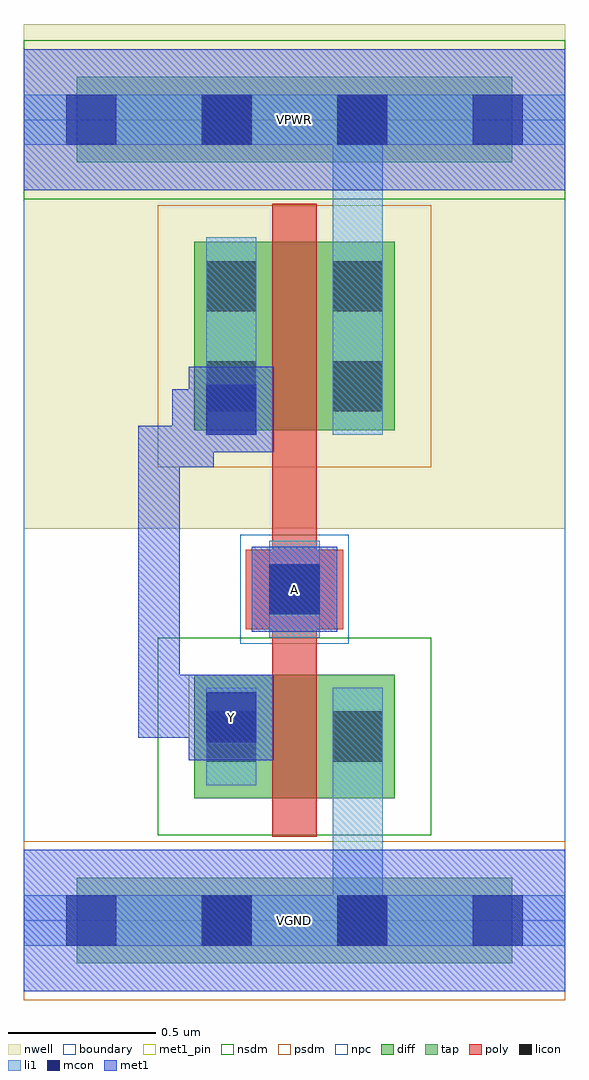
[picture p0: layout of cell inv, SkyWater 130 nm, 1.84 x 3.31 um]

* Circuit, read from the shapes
.subckt inv A VGND VPWR Y
XM1 VGND A Y VGND sky130_fd_pr__nfet_01v8 w=0.42 l=0.15
XM2 VPWR A Y VPWR sky130_fd_pr__pfet_01v8 w=0.64 l=0.15
.ends

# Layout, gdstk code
import gdstk
lib = gdstk.Library(unit=1e-6, precision=1e-09)
def R(c, l, rs):  # rectangles x0, y0, x1, y1
    for r in rs: c.add(gdstk.rectangle(r[:2], r[2:], *l))
def A(c, l, x, y, w, h, nx, ny, dx, dy):  # array of equal rectangles
    R(c, l, [(x+i*dx, y+j*dy, x+i*dx+w, y+j*dy+h) for i in range(nx) for j in range(ny)])
nwell = (64, 20)
diff = (65, 20)
tap = (65, 44)
poly = (66, 20)
licon = (66, 44)
li1 = (67, 20)
mcon = (67, 44)
met1_pin = (68, 16)
met1 = (68, 20)
nsdm = (93, 44)
psdm = (94, 20)
npc = (95, 20)
boundary = (235, 4)

inv = lib.new_cell('inv')
R(inv, nwell, [(0,1.33,1.84,3.045)])
R(inv, diff, [(0.58,0.415,1.26,0.835), (0.58,1.665,1.26,2.305)])
R(inv, tap, [(0.18,-0.145,1.66,0.145), (0.18,2.575,1.66,2.865)])
R(inv, poly, [(0.845,0.285,0.995,2.435), (0.755,0.99,1.085,1.26)])
R(inv, licon, [(0.605,-0.085,0.775,0.085), (1.065,-0.085,1.235,0.085), (0.62,0.54,0.79,0.71), (1.05,0.54,1.22,0.71), (0.835,1.04,1.005,1.21), (0.62,1.73,0.79,1.9), (1.05,1.73,1.22,1.9), (0.62,2.07,0.79,2.24), (1.05,2.07,1.22,2.24), (0.605,2.635,0.775,2.805), (1.065,2.635,1.235,2.805)])
R(inv, li1, [(0,-0.085,1.84,0.085), (1.05,-0.085,1.22,0.79), (0.62,0.46,0.79,0.79), (1.05,0.46,1.22,0.79), (0.835,0.96,1.005,1.29), (0.62,1.65,0.79,2.32), (1.05,1.65,1.22,2.32), (1.05,1.65,1.22,2.805), (0,2.635,1.84,2.805)])
A(inv, mcon, 0.145, -0.085, 0.17, 0.17, 4, 2, 0.46, 2.72)
R(inv, mcon, [(0.62,0.605,0.79,0.775), (0.835,1.04,1.005,1.21), (0.62,1.65,0.79,1.82)])
R(inv, met1_pin, [(0,-0.24,1.84,0.24), (0.56,0.545,0.85,0.835), (0.775,0.98,1.065,1.27), (0,2.48,1.84,2.96)])
R(inv, met1, [(0,-0.24,1.84,0.24), (0.56,0.545,0.85,0.835), (0.39,0.62,0.645,0.76), (0.39,0.62,0.53,1.68), (0.505,0.62,0.775,0.76), (0.53,0.62,0.56,0.835), (0.775,0.98,1.065,1.27), (0.39,1.54,0.645,1.68), (0.505,1.54,0.645,1.805), (0.56,1.59,0.85,1.88), (0.505,1.665,0.775,1.805), (0,2.48,1.84,2.96)])
R(inv, nsdm, [(0.455,0.29,1.385,0.96), (0,2.45,1.84,2.99)])
R(inv, psdm, [(0,-0.27,1.84,0.27), (0.455,1.54,1.385,2.43)])
R(inv, npc, [(0.735,0.94,1.105,1.31)])
R(inv, boundary, [(0,0,1.84,2.72)])
inv.add(gdstk.Label('A', (0.92,1.125), layer=68, texttype=5))
inv.add(gdstk.Label('Y', (0.705,0.69), layer=68, texttype=5))
inv.add(gdstk.Label('VPWR', (0.92,2.72), layer=68, texttype=5))
inv.add(gdstk.Label('VGND', (0.92,0), layer=68, texttype=5))
inv.add(gdstk.Label('A', (0.92,1.125), layer=68, texttype=16))
inv.add(gdstk.Label('Y', (0.705,0.69), layer=68, texttype=16))
inv.add(gdstk.Label('VPWR', (0.92,2.72), layer=68, texttype=16))
inv.add(gdstk.Label('VGND', (0.92,0), layer=68, texttype=16))

lib.write_gds('inv.gds')
